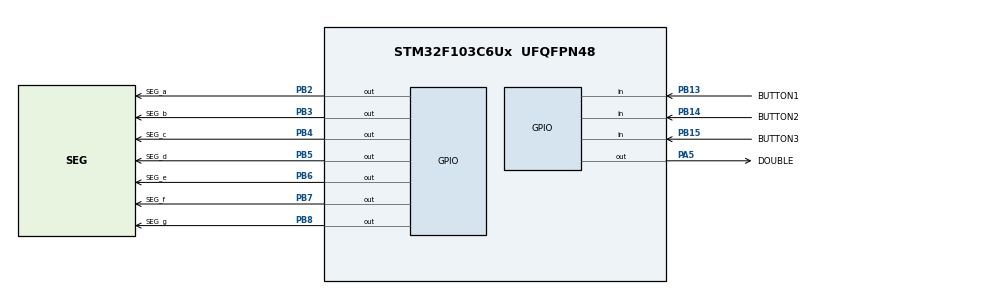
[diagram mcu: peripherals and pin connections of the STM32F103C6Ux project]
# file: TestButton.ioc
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Mcu.Family=STM32F1
Mcu.Name=STM32F103C6Ux
Mcu.Package=UFQFPN48
NVIC.PriorityGroup=NVIC_PRIORITYGROUP_4
NVIC.TIM2_IRQn=true\:0\:0\:false\:false\:true\:true\:true
PA5.GPIO_Label=DOUBLE
PA5.Signal=GPIO_Output
PB13.GPIO_Label=BUTTON1
PB13.GPIO_PuPd=GPIO_PULLUP
PB13.Signal=GPIO_Input
PB14.GPIO_Label=BUTTON2
PB14.GPIO_PuPd=GPIO_PULLUP
PB14.Signal=GPIO_Input
PB15.GPIO_Label=BUTTON3
PB15.GPIO_PuPd=GPIO_PULLUP
PB15.Signal=GPIO_Input
PB2.GPIO_Label=SEG_a
PB2.Signal=GPIO_Output
PB3.GPIO_Label=SEG_b
PB3.Signal=GPIO_Output
PB4.GPIO_Label=SEG_c
PB4.Signal=GPIO_Output
PB5.GPIO_Label=SEG_d
PB5.Signal=GPIO_Output
PB6.GPIO_Label=SEG_e
PB6.Signal=GPIO_Output
PB7.GPIO_Label=SEG_f
PB7.Signal=GPIO_Output
PB8.GPIO_Label=SEG_g
PB8.Signal=GPIO_Output
ProjectManager.HeapSize=0x200
ProjectManager.StackSize=0x400
ProjectManager.TargetToolchain=STM32CubeIDE
RCC.APB1Freq_Value=8000000
RCC.APB2Freq_Value=8000000
TIM2.Period=9
TIM2.Prescaler=7999
VP_SYS_VS_ND.Mode=No_Debug
VP_TIM2_VS_ClockSourceINT.Mode=Internal
board=custom

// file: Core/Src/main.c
/* USER CODE BEGIN Header */
/**
  ******************************************************************************
  * @file           : main.c
  * @brief          : Main program body
  ******************************************************************************
  * @attention
  *
  * <h2><center>&copy; Copyright (c) 2022 STMicroelectronics.
  * All rights reserved.</center></h2>
  *
  * This software component is licensed by ST under BSD 3-Clause license,
  * the "License"; You may not use this file except in compliance with the
  * License. You may obtain a copy of the License at:
  *                        opensource.org/licenses/BSD-3-Clause
  *
  ******************************************************************************
  */
/* USER CODE END Header */
#include "main.h"

/* USER CODE BEGIN Includes */
#include "timer.h"
#include "button.h"
#include "fsm_button.h"
#include "display_seven_seg.h"
/* USER CODE END Includes */

TIM_HandleTypeDef htim2;

void SystemClock_Config(void);
static void MX_GPIO_Init(void);
static void MX_TIM2_Init(void);

int main(void)
{

  /* MCU Configuration--------------------------------------------------------*/

  /* Reset of all peripherals, Initializes the Flash interface and the Systick. */
  HAL_Init();

  /* Configure the system clock */
  SystemClock_Config();

  /* Initialize all configured peripherals */
  MX_GPIO_Init();
  MX_TIM2_Init();
  /* USER CODE BEGIN 2 */
  HAL_TIM_Base_Start_IT(&htim2);
  /* USER CODE END 2 */

  /* Infinite loop */
  /* USER CODE BEGIN WHILE */
  setTimer1(10);
  setTimer2(10);
  setTimer3(50);
  while (1)
  {
	  fsm_button();
	  fsm_full();
	  if(timer3Flag == 1){
		  HAL_GPIO_TogglePin(DOUBLE_GPIO_Port, DOUBLE_Pin);
		  setTimer3(50);
	  }
	  display7SEG(displayNumberOnSeg);
    /* USER CODE END WHILE */

  }
}

void SystemClock_Config(void)
{
  RCC_OscInitTypeDef RCC_OscInitStruct = {0};
  RCC_ClkInitTypeDef RCC_ClkInitStruct = {0};

  /** Initializes the RCC Oscillators according to the specified parameters
  * in the RCC_OscInitTypeDef structure.
  */
  RCC_OscInitStruct.OscillatorType = RCC_OSCILLATORTYPE_HSI;
  RCC_OscInitStruct.HSIState = RCC_HSI_ON;
  RCC_OscInitStruct.HSICalibrationValue = RCC_HSICALIBRATION_DEFAULT;
  RCC_OscInitStruct.PLL.PLLState = RCC_PLL_NONE;
  if (HAL_RCC_OscConfig(&RCC_OscInitStruct) != HAL_OK)
  {
    Error_Handler();
  }
  /** Initializes the CPU, AHB and APB buses clocks
  */
  RCC_ClkInitStruct.ClockType = RCC_CLOCKTYPE_HCLK|RCC_CLOCKTYPE_SYSCLK
                              |RCC_CLOCKTYPE_PCLK1|RCC_CLOCKTYPE_PCLK2;
  RCC_ClkInitStruct.SYSCLKSource = RCC_SYSCLKSOURCE_HSI;
  RCC_ClkInitStruct.AHBCLKDivider = RCC_SYSCLK_DIV1;
  RCC_ClkInitStruct.APB1CLKDivider = RCC_HCLK_DIV1;
  RCC_ClkInitStruct.APB2CLKDivider = RCC_HCLK_DIV1;

  if (HAL_RCC_ClockConfig(&RCC_ClkInitStruct, FLASH_LATENCY_0) != HAL_OK)
  {
    Error_Handler();
  }
}

static void MX_TIM2_Init(void)
{

  TIM_ClockConfigTypeDef sClockSourceConfig = {0};
  TIM_MasterConfigTypeDef sMasterConfig = {0};

  htim2.Instance = TIM2;
  htim2.Init.Prescaler = 7999;
  htim2.Init.CounterMode = TIM_COUNTERMODE_UP;
  htim2.Init.Period = 9;
  htim2.Init.ClockDivision = TIM_CLOCKDIVISION_DIV1;
  htim2.Init.AutoReloadPreload = TIM_AUTORELOAD_PRELOAD_DISABLE;
  if (HAL_TIM_Base_Init(&htim2) != HAL_OK)
  {
    Error_Handler();
  }
  sClockSourceConfig.ClockSource = TIM_CLOCKSOURCE_INTERNAL;
  if (HAL_TIM_ConfigClockSource(&htim2, &sClockSourceConfig) != HAL_OK)
  {
    Error_Handler();
  }
  sMasterConfig.MasterOutputTrigger = TIM_TRGO_RESET;
  sMasterConfig.MasterSlaveMode = TIM_MASTERSLAVEMODE_DISABLE;
  if (HAL_TIMEx_MasterConfigSynchronization(&htim2, &sMasterConfig) != HAL_OK)
  {
    Error_Handler();
  }

}

static void MX_GPIO_Init(void)
{
  GPIO_InitTypeDef GPIO_InitStruct = {0};

  /* GPIO Ports Clock Enable */
  __HAL_RCC_GPIOA_CLK_ENABLE();
  __HAL_RCC_GPIOB_CLK_ENABLE();

  /*Configure GPIO pin Output Level */
  HAL_GPIO_WritePin(DOUBLE_GPIO_Port, DOUBLE_Pin, GPIO_PIN_RESET);

  /*Configure GPIO pin Output Level */
  HAL_GPIO_WritePin(GPIOB, SEG_a_Pin|SEG_b_Pin|SEG_c_Pin|SEG_d_Pin
                          |SEG_e_Pin|SEG_f_Pin|SEG_g_Pin, GPIO_PIN_RESET);

  /*Configure GPIO pin : DOUBLE_Pin */
  GPIO_InitStruct.Pin = DOUBLE_Pin;
  GPIO_InitStruct.Mode = GPIO_MODE_OUTPUT_PP;
  GPIO_InitStruct.Pull = GPIO_NOPULL;
  GPIO_InitStruct.Speed = GPIO_SPEED_FREQ_LOW;
  HAL_GPIO_Init(DOUBLE_GPIO_Port, &GPIO_InitStruct);

  /*Configure GPIO pins : SEG_a_Pin SEG_b_Pin SEG_c_Pin SEG_d_Pin
                           SEG_e_Pin SEG_f_Pin SEG_g_Pin */
  GPIO_InitStruct.Pin = SEG_a_Pin|SEG_b_Pin|SEG_c_Pin|SEG_d_Pin
                          |SEG_e_Pin|SEG_f_Pin|SEG_g_Pin;
  GPIO_InitStruct.Mode = GPIO_MODE_OUTPUT_PP;
  GPIO_InitStruct.Pull = GPIO_NOPULL;
  GPIO_InitStruct.Speed = GPIO_SPEED_FREQ_LOW;
  HAL_GPIO_Init(GPIOB, &GPIO_InitStruct);

  /*Configure GPIO pins : BUTTON1_Pin BUTTON2_Pin BUTTON3_Pin */
  GPIO_InitStruct.Pin = BUTTON1_Pin|BUTTON2_Pin|BUTTON3_Pin;
  GPIO_InitStruct.Mode = GPIO_MODE_INPUT;
  GPIO_InitStruct.Pull = GPIO_PULLUP;
  HAL_GPIO_Init(GPIOB, &GPIO_InitStruct);

}

/* USER CODE BEGIN 4 */
void HAL_TIM_PeriodElapsedCallback(TIM_HandleTypeDef * htim){
	timerRun();
	button_reading();
}
/* USER CODE END 4 */

void Error_Handler(void)
{
  __disable_irq();
  while (1)
  {
  }
}

/************************ (C) COPYRIGHT STMicroelectronics *****END OF FILE****/
